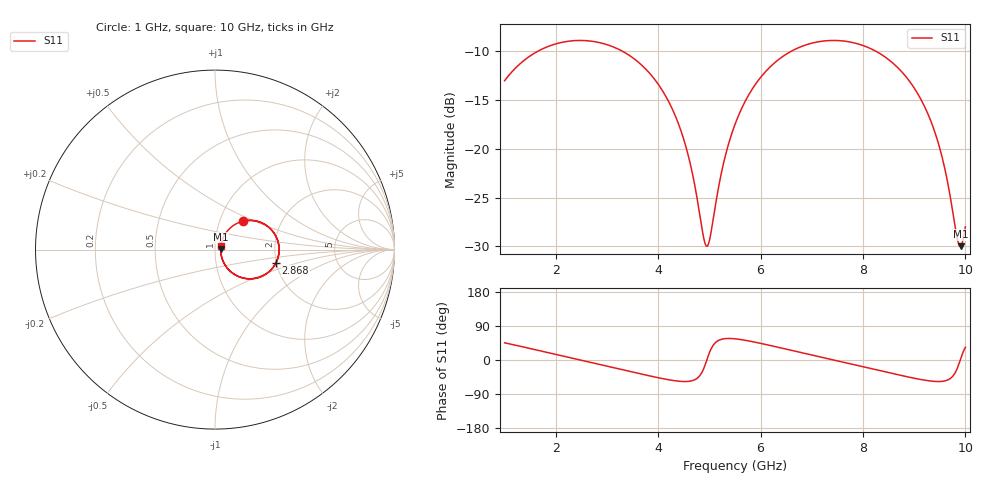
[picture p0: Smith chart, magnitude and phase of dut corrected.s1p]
!Created with skrf (http://scikit-rf.org).
# GHz S RI R 50.0
!freq ReS11 ImS11
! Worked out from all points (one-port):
!   401 points, 1 GHz to 10 GHz, reference 50 ohm
!   lowest |S11| = -30.0 dB at 9.91 GHz (marker M1), VSWR 1.07, Z = 53.3 + j0.236 ohm
!   |S11| at or under -10 dB: start of sweep to 1.664 GHz; 3.286 GHz to 6.614 GHz (3.327 GHz wide, 67.2 % of centre); 8.236 GHz to end of sweep
!   S11 on the Smith chart (normalised r, x): 1 GHz: 1.29, +0.43; 2.868 GHz: 1.99, -0.33; 10 GHz: 1.07, +0.05
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1  0.1564 0.1583
1.5175  0.2606 0.1488
2.125  0.3434 0.0658
2.8675  0.3399 -0.0733
3.25  0.2921 -0.1304
3.9025  0.1662 -0.1604
4.15  0.1169 -0.1432
4.375  0.0783 -0.1141
4.6  0.0496 -0.0744
4.7125  0.04 -0.0516
4.8925  0.0321 -0.0127
4.96  0.0316 0.00221
5.0275  0.0325 0.0171
5.275  0.0472 0.0695
5.5  0.0745 0.1102
5.725  0.1122 0.1406
5.9725  0.161 0.1594
6.625  0.288 0.1333
7.21  0.3521 0.0411
7.75  0.3453 -0.0613
8.3575  0.2652 -0.1467
8.875  0.1615 -0.1595
9.1675  0.1045 -0.1357
9.415  0.0654 -0.0993
9.6175  0.0434 -0.0609
9.8425  0.0321 -0.0127
9.91  0.0316 0.00221
10  0.0331 0.0221
